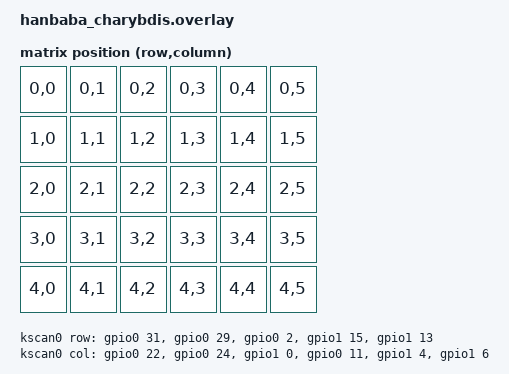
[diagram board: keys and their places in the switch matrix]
#include <zephyr/dt-bindings/gpio/gpio.h>
#include <dt-bindings/zmk/matrix_transform.h>

/ {
    kscan0: kscan {
        compatible = "zmk,kscan-gpio-matrix";
        wakeup-source;
        diode-direction = "col2row";

        col-gpios
            = <&gpio0 22 GPIO_ACTIVE_HIGH>
            , <&gpio0 24 GPIO_ACTIVE_HIGH>
            , <&gpio1 0  GPIO_ACTIVE_HIGH>
            , <&gpio0 11 GPIO_ACTIVE_HIGH>
            , <&gpio1 4  GPIO_ACTIVE_HIGH>
            , <&gpio1 6  GPIO_ACTIVE_HIGH>
            ;

        row-gpios
            = <&gpio0 31 (GPIO_ACTIVE_HIGH | GPIO_PULL_DOWN)>
            , <&gpio0 29 (GPIO_ACTIVE_HIGH | GPIO_PULL_DOWN)>
            , <&gpio0 2  (GPIO_ACTIVE_HIGH | GPIO_PULL_DOWN)>
            , <&gpio1 15 (GPIO_ACTIVE_HIGH | GPIO_PULL_DOWN)>
            , <&gpio1 13 (GPIO_ACTIVE_HIGH | GPIO_PULL_DOWN)>
            ;
    };

    default_transform: keymap_transform0 {
        compatible = "zmk,matrix-transform";
        columns = <6>;
        rows = <5>;

        map = <
            RC(0,0) RC(0,1) RC(0,2) RC(0,3) RC(0,4) RC(0,5)
            RC(1,0) RC(1,1) RC(1,2) RC(1,3) RC(1,4) RC(1,5)
            RC(2,0) RC(2,1) RC(2,2) RC(2,3) RC(2,4) RC(2,5)
            RC(3,0) RC(3,1) RC(3,2) RC(3,3) RC(3,4) RC(3,5)
            RC(4,0) RC(4,1) RC(4,2) RC(4,3) RC(4,4) RC(4,5)
        >;
    };

    physical_layout0: physical_layout_0 {
        compatible = "zmk,physical-layout";
        display-name = "Test Layout";
        kscan = <&kscan0>;
        transform = <&default_transform>;
    };

    chosen {
        zmk,physical-layout = &physical_layout0;
    };
};

#include <zephyr/dt-bindings/pinctrl/nrf-pinctrl.h>
#include <zephyr/dt-bindings/input/input-event-codes.h>

&pinctrl {
    spi0_default: spi0_default {
        group1 {
            psels = <NRF_PSEL(SPIM_SCK, 0, 8)>,
                    <NRF_PSEL(SPIM_MOSI, 0, 17)>,
                    <NRF_PSEL(SPIM_MISO, 0, 17)>;
        };
    };

    spi0_sleep: spi0_sleep {
        group1 {
            psels = <NRF_PSEL(SPIM_SCK, 0, 8)>,
                    <NRF_PSEL(SPIM_MOSI, 0, 17)>,
                    <NRF_PSEL(SPIM_MISO, 0, 17)>;
            low-power-enable;
        };
    };
};

&spi0 {
    status = "okay";
    compatible = "nordic,nrf-spim";

    pinctrl-0 = <&spi0_default>;
    pinctrl-1 = <&spi0_sleep>;
    pinctrl-names = "default", "sleep";

    cs-gpios = <&gpio0 20 GPIO_ACTIVE_LOW>;

    trackball: trackball@0 {
        status = "okay";
        compatible = "pixart,pmw3610";
        reg = <0>;

        spi-max-frequency = <2000000>;

        irq-gpios = <&gpio0 6 (GPIO_ACTIVE_LOW | GPIO_PULL_UP)>;

        cpi = <600>;

        invert-x;

        evt-type = <INPUT_EV_REL>;
        x-input-code = <INPUT_REL_X>;
        y-input-code = <INPUT_REL_Y>;

        force-awake;
    };
};

/ {
    trackball_listener {
        compatible = "zmk,input-listener";
        device = <&trackball>;
    };
};
